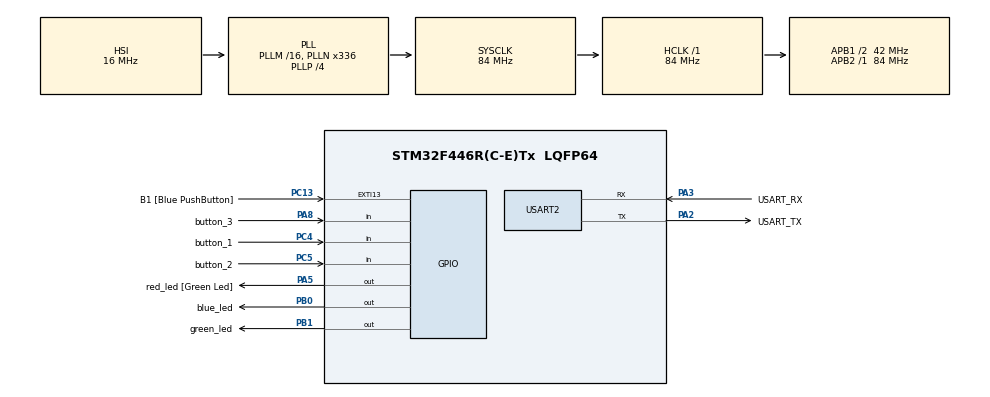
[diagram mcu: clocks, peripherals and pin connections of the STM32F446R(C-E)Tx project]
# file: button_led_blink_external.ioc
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Mcu.Family=STM32F4
Mcu.Name=STM32F446R(C-E)Tx
Mcu.Package=LQFP64
NVIC.PriorityGroup=NVIC_PRIORITYGROUP_0
PA13.GPIO_Label=TMS
PA13.Mode=Serial_Wire
PA13.Signal=SYS_JTMS-SWDIO
PA14.GPIO_Label=TCK
PA14.Mode=Serial_Wire
PA14.Signal=SYS_JTCK-SWCLK
PA2.GPIO_Label=USART_TX
PA2.Mode=Asynchronous
PA2.Signal=USART2_TX
PA3.GPIO_Label=USART_RX
PA3.Mode=Asynchronous
PA3.Signal=USART2_RX
PA5.GPIO_Label=red_led [Green Led]
PA5.Signal=GPIO_Output
PA8.GPIO_Label=button_3
PA8.GPIO_PuPd=GPIO_PULLDOWN
PA8.Signal=GPIO_Input
PB0.GPIO_Label=blue_led
PB0.Signal=GPIO_Output
PB1.GPIO_Label=green_led
PB1.GPIO_PuPd=GPIO_NOPULL
PB1.Signal=GPIO_Output
PB3.GPIO_Label=SWO
PB3.Signal=SYS_JTDO-SWO
PC13.GPIO_Label=B1 [Blue PushButton]
PC13.GPIO_ModeDefaultEXTI=GPIO_MODE_IT_FALLING
PC13.Signal=GPXTI13
PC14-OSC32_IN.Mode=LSE-External-Oscillator
PC14-OSC32_IN.Signal=RCC_OSC32_IN
PC15-OSC32_OUT.Mode=LSE-External-Oscillator
PC15-OSC32_OUT.Signal=RCC_OSC32_OUT
PC4.GPIO_Label=button_1
PC4.GPIO_PuPd=GPIO_PULLUP
PC4.Signal=GPIO_Input
PC5.GPIO_Label=button_2
PC5.GPIO_PuPd=GPIO_PULLUP
PC5.Signal=GPIO_Input
PH0-OSC_IN.Mode=HSE-External-Oscillator
PH0-OSC_IN.Signal=RCC_OSC_IN
PH1-OSC_OUT.Mode=HSE-External-Oscillator
PH1-OSC_OUT.Signal=RCC_OSC_OUT
ProjectManager.HeapSize=0x200
ProjectManager.StackSize=0x400
ProjectManager.TargetToolchain=STM32CubeIDE
RCC.48MHZClocksFreq_Value=84000000
RCC.AHBFreq_Value=84000000
RCC.APB1CLKDivider=RCC_HCLK_DIV2
RCC.APB1Freq_Value=42000000
RCC.APB1TimFreq_Value=84000000
RCC.APB2Freq_Value=84000000
RCC.APB2TimFreq_Value=84000000
RCC.CortexFreq_Value=84000000
RCC.FLatency-AdvancedSettings=FLASH_LATENCY_2
RCC.HCLKFreq_Value=84000000
RCC.HSE_VALUE=8000000
RCC.HSI_VALUE=16000000
RCC.PLLN=336
RCC.PLLP=RCC_PLLP_DIV4
RCC.SYSCLKFreq_VALUE=84000000
RCC.SYSCLKSource=RCC_SYSCLKSOURCE_PLLCLK
RCC.USBFreq_Value=168000000
RCC.VCOOutputFreq_Value=336000000
USART2.VirtualMode=VM_ASYNC
board=NUCLEO-F446RE

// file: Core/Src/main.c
/* USER CODE BEGIN Header */
/**
  ******************************************************************************
  * @file           : main.c
  * @brief          : Main program body
  ******************************************************************************
  * @attention
  *
  * Copyright (c) 2025 STMicroelectronics.
  * All rights reserved.
  *
  * This software is licensed under terms that can be found in the LICENSE file
  * in the root directory of this software component.
  * If no LICENSE file comes with this software, it is provided AS-IS.
  *
  ******************************************************************************
  */
/* USER CODE END Header */
#include "main.h"

UART_HandleTypeDef huart2;

void SystemClock_Config(void);
static void MX_GPIO_Init(void);
static void MX_USART2_UART_Init(void);

int main(void)
{

  /* MCU Configuration--------------------------------------------------------*/

  /* Reset of all peripherals, Initializes the Flash interface and the Systick. */
  HAL_Init();

  /* Configure the system clock */
  SystemClock_Config();

  /* Initialize all configured peripherals */
  MX_GPIO_Init();
  MX_USART2_UART_Init();

  /* Infinite loop */
  while (1)
    {

      /* USER CODE BEGIN 3 */

      // --- Logic for Button 1 (Toggle Red LED) ---
      // Button 1 (PC4) is configured with an internal PULL-UP.
      // When pressed, it pulls the pin LOW (GPIO_PIN_RESET).
      if (HAL_GPIO_ReadPin(button_1_GPIO_Port, button_1_Pin) == GPIO_PIN_RESET) // Check if button is pressed (LOW)
      {
        HAL_Delay(50); // Debounce delay: Wait for contact bounce to settle
        // Re-check button state after debounce to confirm a stable press
        if (HAL_GPIO_ReadPin(button_1_GPIO_Port, button_1_Pin) == GPIO_PIN_RESET)
        {
          HAL_GPIO_TogglePin(red_led_GPIO_Port, red_led_Pin); // Toggle the Red LED
          // Wait in this loop until the button is released to prevent multiple toggles from a single press
          while(HAL_GPIO_ReadPin(button_1_GPIO_Port, button_1_Pin) == GPIO_PIN_RESET);
          HAL_Delay(50); // Debounce delay after button release
        }
      }

      // --- Logic for Button 2 (Toggle Blue LED) ---
      // Button 2 (PC5) is configured with an internal PULL-UP.
      // When pressed, it pulls the pin LOW (GPIO_PIN_RESET).
      if (HAL_GPIO_ReadPin(button_2_GPIO_Port, button_2_Pin) == GPIO_PIN_RESET) // Check if button is pressed (LOW)
      {
        HAL_Delay(50); // Debounce delay
        // Re-check button state after debounce to confirm a stable press
        if (HAL_GPIO_ReadPin(button_2_GPIO_Port, button_2_Pin) == GPIO_PIN_RESET)
        {
          HAL_GPIO_TogglePin(blue_led_GPIO_Port, blue_led_Pin); // Toggle the Blue LED
          // Wait in this loop until the button is released
          while(HAL_GPIO_ReadPin(button_2_GPIO_Port, button_2_Pin) == GPIO_PIN_RESET);
          HAL_Delay(50); // Debounce delay after button release
        }
      }

      // --- Logic for Button 3 (Momentary Green LED) ---
      // Button 3 (PA8) is configured with an internal PULL-DOWN.
      // When pressed, it pulls the pin HIGH (GPIO_PIN_SET).
      // When not pressed, the pull-down resistor holds the pin LOW (GPIO_PIN_RESET).
      if (HAL_GPIO_ReadPin(button_3_GPIO_Port, button_3_Pin) == GPIO_PIN_SET) // Check if button is pressed (HIGH)
      {
        HAL_Delay(20); // Small debounce delay for press (to confirm stable state)
        // Re-check button state after debounce
        if (HAL_GPIO_ReadPin(button_3_GPIO_Port, button_3_Pin) == GPIO_PIN_SET)
        {
          HAL_GPIO_WritePin(green_led_GPIO_Port, green_led_Pin, GPIO_PIN_SET); // Turn Green LED ON
        }
      }
      else // Button is NOT pressed (pin is LOW)
      {
        HAL_Delay(20); // Small debounce delay for release (to confirm stable state)
        // Re-check button state after debounce
        if (HAL_GPIO_ReadPin(button_3_GPIO_Port, button_3_Pin) == GPIO_PIN_RESET)
        {
          HAL_GPIO_WritePin(green_led_GPIO_Port, green_led_Pin, GPIO_PIN_RESET); // Turn Green LED OFF
        }
      }

      /* USER CODE END 3 */
    }
    /* USER CODE END WHILE */
}

void SystemClock_Config(void)
{
  RCC_OscInitTypeDef RCC_OscInitStruct = {0};
  RCC_ClkInitTypeDef RCC_ClkInitStruct = {0};

  /** Configure the main internal regulator output voltage
  */
  __HAL_RCC_PWR_CLK_ENABLE();
  __HAL_PWR_VOLTAGESCALING_CONFIG(PWR_REGULATOR_VOLTAGE_SCALE3);

  /** Initializes the RCC Oscillators according to the specified parameters
  * in the RCC_OscInitTypeDef structure.
  */
  RCC_OscInitStruct.OscillatorType = RCC_OSCILLATORTYPE_HSI;
  RCC_OscInitStruct.HSIState = RCC_HSI_ON;
  RCC_OscInitStruct.HSICalibrationValue = RCC_HSICALIBRATION_DEFAULT;
  RCC_OscInitStruct.PLL.PLLState = RCC_PLL_ON;
  RCC_OscInitStruct.PLL.PLLSource = RCC_PLLSOURCE_HSI;
  RCC_OscInitStruct.PLL.PLLM = 16;
  RCC_OscInitStruct.PLL.PLLN = 336;
  RCC_OscInitStruct.PLL.PLLP = RCC_PLLP_DIV4;
  RCC_OscInitStruct.PLL.PLLQ = 2;
  RCC_OscInitStruct.PLL.PLLR = 2;
  if (HAL_RCC_OscConfig(&RCC_OscInitStruct) != HAL_OK)
  {
    Error_Handler();
  }

  /** Initializes the CPU, AHB and APB buses clocks
  */
  RCC_ClkInitStruct.ClockType = RCC_CLOCKTYPE_HCLK|RCC_CLOCKTYPE_SYSCLK
                              |RCC_CLOCKTYPE_PCLK1|RCC_CLOCKTYPE_PCLK2;
  RCC_ClkInitStruct.SYSCLKSource = RCC_SYSCLKSOURCE_PLLCLK;
  RCC_ClkInitStruct.AHBCLKDivider = RCC_SYSCLK_DIV1;
  RCC_ClkInitStruct.APB1CLKDivider = RCC_HCLK_DIV2;
  RCC_ClkInitStruct.APB2CLKDivider = RCC_HCLK_DIV1;

  if (HAL_RCC_ClockConfig(&RCC_ClkInitStruct, FLASH_LATENCY_2) != HAL_OK)
  {
    Error_Handler();
  }
}

static void MX_USART2_UART_Init(void)
{

  huart2.Instance = USART2;
  huart2.Init.BaudRate = 115200;
  huart2.Init.WordLength = UART_WORDLENGTH_8B;
  huart2.Init.StopBits = UART_STOPBITS_1;
  huart2.Init.Parity = UART_PARITY_NONE;
  huart2.Init.Mode = UART_MODE_TX_RX;
  huart2.Init.HwFlowCtl = UART_HWCONTROL_NONE;
  huart2.Init.OverSampling = UART_OVERSAMPLING_16;
  if (HAL_UART_Init(&huart2) != HAL_OK)
  {
    Error_Handler();
  }

}

static void MX_GPIO_Init(void)
{
  GPIO_InitTypeDef GPIO_InitStruct = {0};

  /* GPIO Ports Clock Enable */
  __HAL_RCC_GPIOC_CLK_ENABLE();
  __HAL_RCC_GPIOH_CLK_ENABLE();
  __HAL_RCC_GPIOA_CLK_ENABLE();
  __HAL_RCC_GPIOB_CLK_ENABLE();

  /*Configure GPIO pin Output Level */
  HAL_GPIO_WritePin(red_led_GPIO_Port, red_led_Pin, GPIO_PIN_RESET);

  /*Configure GPIO pin Output Level */
  HAL_GPIO_WritePin(GPIOB, blue_led_Pin|green_led_Pin, GPIO_PIN_RESET);

  /*Configure GPIO pin : B1_Pin */
  GPIO_InitStruct.Pin = B1_Pin;
  GPIO_InitStruct.Mode = GPIO_MODE_IT_FALLING;
  GPIO_InitStruct.Pull = GPIO_NOPULL;
  HAL_GPIO_Init(B1_GPIO_Port, &GPIO_InitStruct);

  /*Configure GPIO pin : red_led_Pin */
  GPIO_InitStruct.Pin = red_led_Pin;
  GPIO_InitStruct.Mode = GPIO_MODE_OUTPUT_PP;
  GPIO_InitStruct.Pull = GPIO_NOPULL;
  GPIO_InitStruct.Speed = GPIO_SPEED_FREQ_LOW;
  HAL_GPIO_Init(red_led_GPIO_Port, &GPIO_InitStruct);

  /*Configure GPIO pins : button_1_Pin button_2_Pin */
  GPIO_InitStruct.Pin = button_1_Pin|button_2_Pin;
  GPIO_InitStruct.Mode = GPIO_MODE_INPUT;
  GPIO_InitStruct.Pull = GPIO_PULLUP;
  HAL_GPIO_Init(GPIOC, &GPIO_InitStruct);

  /*Configure GPIO pins : blue_led_Pin green_led_Pin */
  GPIO_InitStruct.Pin = blue_led_Pin|green_led_Pin;
  GPIO_InitStruct.Mode = GPIO_MODE_OUTPUT_PP;
  GPIO_InitStruct.Pull = GPIO_NOPULL;
  GPIO_InitStruct.Speed = GPIO_SPEED_FREQ_LOW;
  HAL_GPIO_Init(GPIOB, &GPIO_InitStruct);

  /*Configure GPIO pin : button_3_Pin */
  GPIO_InitStruct.Pin = button_3_Pin;
  GPIO_InitStruct.Mode = GPIO_MODE_INPUT;
  GPIO_InitStruct.Pull = GPIO_PULLDOWN;
  HAL_GPIO_Init(button_3_GPIO_Port, &GPIO_InitStruct);

}

void Error_Handler(void)
{
  __disable_irq();
  while (1)
  {
  }
}
